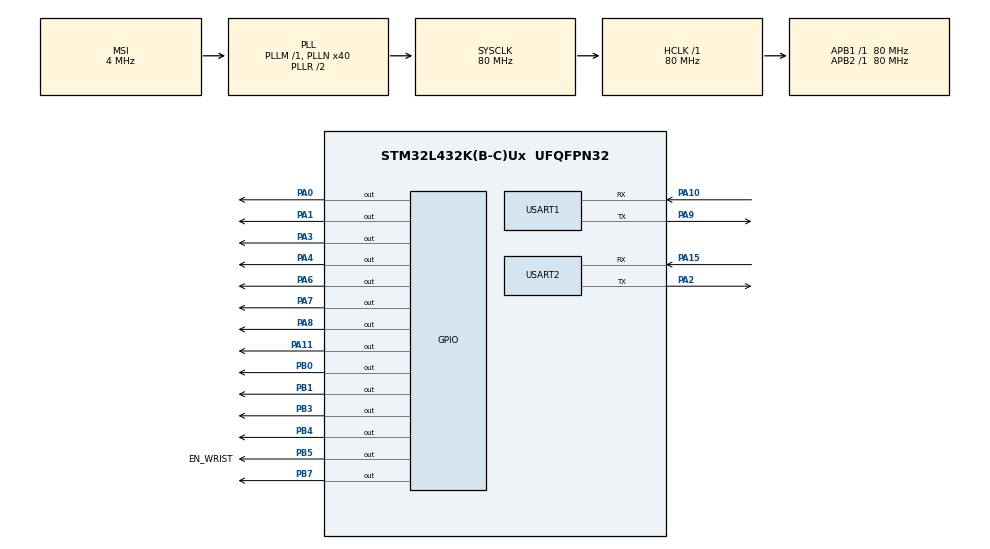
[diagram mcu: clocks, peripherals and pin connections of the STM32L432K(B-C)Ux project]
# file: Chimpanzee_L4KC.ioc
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CRC.CRCLength=CRC_POLYLENGTH_8B
CRC.DefaultInitValueUse=DEFAULT_INIT_VALUE_DISABLE
CRC.DefaultPolynomialUse=DEFAULT_POLYNOMIAL_DISABLE
Dma.Request0=USART1_RX
Dma.Request1=USART1_TX
Dma.Request2=USART2_RX
Dma.Request3=USART2_TX
Dma.USART1_RX.0.Direction=DMA_PERIPH_TO_MEMORY
Dma.USART1_RX.0.Instance=DMA1_Channel5
Dma.USART1_RX.0.MemDataAlignment=DMA_MDATAALIGN_BYTE
Dma.USART1_RX.0.MemInc=DMA_MINC_ENABLE
Dma.USART1_RX.0.Mode=DMA_CIRCULAR
Dma.USART1_RX.0.PeriphDataAlignment=DMA_PDATAALIGN_BYTE
Dma.USART1_RX.0.PeriphInc=DMA_PINC_DISABLE
Dma.USART1_RX.0.Priority=DMA_PRIORITY_LOW
Dma.USART1_TX.1.Direction=DMA_MEMORY_TO_PERIPH
Dma.USART1_TX.1.Instance=DMA1_Channel4
Dma.USART1_TX.1.MemDataAlignment=DMA_MDATAALIGN_BYTE
Dma.USART1_TX.1.MemInc=DMA_MINC_ENABLE
Dma.USART1_TX.1.Mode=DMA_NORMAL
Dma.USART1_TX.1.PeriphDataAlignment=DMA_PDATAALIGN_BYTE
Dma.USART1_TX.1.PeriphInc=DMA_PINC_DISABLE
Dma.USART1_TX.1.Priority=DMA_PRIORITY_LOW
Dma.USART2_RX.2.Direction=DMA_PERIPH_TO_MEMORY
Dma.USART2_RX.2.Instance=DMA1_Channel6
Dma.USART2_RX.2.MemDataAlignment=DMA_MDATAALIGN_BYTE
Dma.USART2_RX.2.MemInc=DMA_MINC_ENABLE
Dma.USART2_RX.2.Mode=DMA_CIRCULAR
Dma.USART2_RX.2.PeriphDataAlignment=DMA_PDATAALIGN_BYTE
Dma.USART2_RX.2.PeriphInc=DMA_PINC_DISABLE
Dma.USART2_RX.2.Priority=DMA_PRIORITY_LOW
Dma.USART2_TX.3.Direction=DMA_MEMORY_TO_PERIPH
Dma.USART2_TX.3.Instance=DMA1_Channel7
Dma.USART2_TX.3.MemDataAlignment=DMA_MDATAALIGN_BYTE
Dma.USART2_TX.3.MemInc=DMA_MINC_ENABLE
Dma.USART2_TX.3.Mode=DMA_NORMAL
Dma.USART2_TX.3.PeriphDataAlignment=DMA_PDATAALIGN_BYTE
Dma.USART2_TX.3.PeriphInc=DMA_PINC_DISABLE
Dma.USART2_TX.3.Priority=DMA_PRIORITY_LOW
Mcu.Family=STM32L4
Mcu.Name=STM32L432K(B-C)Ux
Mcu.Package=UFQFPN32
NVIC.DMA1_Channel4_IRQn=true\:1\:0\:true\:true\:true\:3\:false\:true\:true
NVIC.DMA1_Channel5_IRQn=true\:3\:0\:true\:true\:true\:9\:false\:true\:true
NVIC.DMA1_Channel6_IRQn=true\:3\:0\:true\:true\:true\:10\:false\:true\:true
NVIC.DMA1_Channel7_IRQn=true\:1\:0\:true\:true\:true\:4\:false\:true\:true
NVIC.PriorityGroup=NVIC_PRIORITYGROUP_4
NVIC.TIM1_BRK_TIM15_IRQn=true\:2\:0\:true\:true\:true\:5\:true\:true\:true
NVIC.TIM1_CC_IRQn=true\:2\:0\:true\:true\:true\:8\:true\:true\:true
NVIC.TIM1_UP_TIM16_IRQn=true\:2\:0\:true\:true\:true\:6\:true\:true\:true
NVIC.TIM2_IRQn=true\:2\:0\:true\:true\:true\:7\:true\:true\:true
NVIC.TIM6_DAC_IRQn=true\:3\:0\:true\:true\:true\:11\:true\:true\:true
NVIC.USART1_IRQn=true\:1\:0\:true\:true\:true\:1\:true\:true\:true
NVIC.USART2_IRQn=true\:1\:0\:true\:true\:true\:2\:true\:true\:true
PA0.Signal=GPIO_Output
PA1.Signal=GPIO_Output
PA10.Mode=Asynchronous
PA10.Signal=USART1_RX
PA11.Signal=GPIO_Output
PA15\ (JTDI).Mode=Asynchronous
PA15\ (JTDI).Signal=USART2_RX
PA2.Mode=Asynchronous
PA2.Signal=USART2_TX
PA3.Signal=GPIO_Output
PA4.Signal=GPIO_Output
PA6.Signal=GPIO_Output
PA7.Signal=GPIO_Output
PA8.Signal=GPIO_Output
PA9.Mode=Asynchronous
PA9.Signal=USART1_TX
PB0.Signal=GPIO_Output
PB1.Signal=GPIO_Output
PB3\ (JTDO-TRACESWO).Signal=GPIO_Output
PB4\ (NJTRST).Signal=GPIO_Output
PB5.GPIO_Label=EN_WRIST
PB5.PinState=GPIO_PIN_RESET
PB5.Signal=GPIO_Output
PB7.Signal=GPIO_Output
ProjectManager.HeapSize=0x200
ProjectManager.StackSize=0x400
ProjectManager.TargetToolchain=STM32CubeIDE
RCC.AHBFreq_Value=80000000
RCC.APB1Freq_Value=80000000
RCC.APB1TimFreq_Value=80000000
RCC.APB2Freq_Value=80000000
RCC.APB2TimFreq_Value=80000000
RCC.CortexFreq_Value=80000000
RCC.HCLKFreq_Value=80000000
RCC.HSE_VALUE=8000000
RCC.HSI16_VALUE=16000000
RCC.HSI48_VALUE=48000000
RCC.HSI_VALUE=16000000
RCC.LSE_VALUE=32768
RCC.MSI_VALUE=4000000
RCC.PLLMUL=RCC_PLLMUL_4
RCC.PLLN=40
RCC.SYSCLKFreq_VALUE=80000000
RCC.SYSCLKSource=RCC_SYSCLKSOURCE_PLLCLK
RCC.VCOOutputFreq_Value=160000000
TIM1.Channel-PWM\ Generation1\ No\ Output=TIM_CHANNEL_1
TIM1.Channel-PWM\ Generation2\ No\ Output=TIM_CHANNEL_2
TIM1.Channel-PWM\ Generation3\ No\ Output=TIM_CHANNEL_3
TIM1.Channel-PWM\ Generation4\ No\ Output=TIM_CHANNEL_4
TIM1.OC1Preload_PWM=DISABLE
TIM1.OC2Preload_PWM=DISABLE
TIM1.OC3Preload_PWM=DISABLE
TIM1.OC4Preload_PWM=DISABLE
TIM1.Period=19999
TIM1.Prescaler=79
TIM1.Pulse-PWM\ Generation1\ No\ Output=1540
TIM1.Pulse-PWM\ Generation2\ No\ Output=1540
TIM1.Pulse-PWM\ Generation3\ No\ Output=1540
TIM1.Pulse-PWM\ Generation4\ No\ Output=1540
TIM15.Channel-PWM\ Generation1\ No\ Output=TIM_CHANNEL_1
TIM15.OC1Preload_PWM=DISABLE
TIM15.Period=255
TIM15.Prescaler=150
TIM15.Pulse-PWM\ Generation1\ No\ Output=127
TIM16.Channel=TIM_CHANNEL_1
TIM16.OC1Preload_PWM=DISABLE
TIM16.Period=255
TIM16.Prescaler=1040
TIM16.Pulse=127
TIM2.Channel-PWM\ Generation1\ No\ Output=TIM_CHANNEL_1
TIM2.Channel-PWM\ Generation2\ No\ Output=TIM_CHANNEL_2
TIM2.Channel-PWM\ Generation3\ No\ Output=TIM_CHANNEL_3
TIM2.Channel-PWM\ Generation4\ No\ Output=TIM_CHANNEL_4
TIM2.OC1Preload_PWM=DISABLE
TIM2.OC2Preload_PWM=DISABLE
TIM2.OC3Preload_PWM=DISABLE
TIM2.OC4Preload_PWM=DISABLE
TIM2.Period=19999
TIM2.Prescaler=79
TIM2.Pulse-PWM\ Generation1\ No\ Output=1540
TIM2.Pulse-PWM\ Generation2\ No\ Output=1540
TIM2.Pulse-PWM\ Generation3\ No\ Output=1540
TIM2.Pulse-PWM\ Generation4\ No\ Output=1540
TIM6.Period=99
TIM6.Prescaler=7999
USART1.VirtualMode-Asynchronous=VM_ASYNC
USART2.VirtualMode-Asynchronous=VM_ASYNC
VP_CRC_VS_CRC.Mode=CRC_Activate
VP_TIM15_VS_no_output1.Mode=PWM Generation1 No Output
VP_TIM16_VS_ClockSourceINT.Mode=Enable_Timer
VP_TIM16_VS_no_output1.Mode=PWM Generation1 No Output
VP_TIM1_VS_no_output1.Mode=PWM Generation1 No Output
VP_TIM1_VS_no_output2.Mode=PWM Generation2 No Output
VP_TIM1_VS_no_output3.Mode=PWM Generation3 No Output
VP_TIM1_VS_no_output4.Mode=PWM Generation4 No Output
VP_TIM2_VS_no_output1.Mode=PWM Generation1 No Output
VP_TIM2_VS_no_output2.Mode=PWM Generation2 No Output
VP_TIM2_VS_no_output3.Mode=PWM Generation3 No Output
VP_TIM2_VS_no_output4.Mode=PWM Generation4 No Output
VP_TIM6_VS_ClockSourceINT.Mode=Enable_Timer
board=NUCLEO-L432KC

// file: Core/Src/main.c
/* USER CODE BEGIN Header */
/**
  ******************************************************************************
  * @file           : main.c
  * @brief          : Main program body
  ******************************************************************************
  * @attention
  *
  * Copyright (c) 2024 STMicroelectronics.
  * All rights reserved.
  *
  * This software is licensed under terms that can be found in the LICENSE file
  * in the root directory of this software component.
  * If no LICENSE file comes with this software, it is provided AS-IS.
  *
  ******************************************************************************
  */
/* USER CODE END Header */
#include "main.h"
#include "crc.h"
#include "dma.h"
#include "tim.h"
#include "usart.h"
#include "gpio.h"

/* USER CODE BEGIN Includes */
#include <string.h>
/* USER CODE END Includes */

/* USER CODE BEGIN PD */
// Arm and Wrist Pin Definitions
#define DEBUG_EN 1

#define PIN_DIR_WRIST GPIO_PIN_4 // GPIOB | D12
#define    PIN_EN_ARM GPIO_PIN_5 // GPIOB | D11
#define  PIN_DIR_HAND GPIO_PIN_7 // GPIOB | D4

// Packets' Codes
#define CHIMP_INIT_SOP 0xFF
#define CHIMP_COMM_SOP 0xAA
#define CHIMP_HB_SOP   0xBB
#define CHIMP_EOP 	   0xEE
#define CHIMP_ESCAPE   0x7E

// Packet sizes, to be kept updated
#define   CHIMP_RX_PCKT_SIZE 27
#define   CHIMP_TX_PCKT_SIZE 50
#define CHIMP_RESP_PCKT_SIZE 8
#define   CHIMP_HB_PCKT_SIZE 7
// Init Packet Indexes
#define        CHIMP_INIT_SOP_IDX 0
#define    CHIMP_INIT_ADDRESS_IDX 1
#define    CHIMP_INIT_VERSION_IDX 2
#define CHIMP_INIT_SUBVERSION_IDX 3
#define  CHIMP_INIT_HB_PERIOD_IDX 4
#define       CHIMP_INIT_CRC8_IDX 5
#define        CHIMP_INIT_EOP_IDX 6

// Response Packet Indexes
#define        CHIMP_RESP_SOP_IDX 0
#define    CHIMP_RESP_ADDRESS_IDX 1
#define    CHIMP_RESP_VERSION_IDX 2
#define CHIMP_RESP_SUBVERSION_IDX 3
#define   CHIMP_RESP_RESPONSE_IDX 4
#define       CHIMP_RESP_CRC8_IDX 5
#define        CHIMP_RESP_EOP_IDX 6

// Heart Beat Packet Indexes
#define     CHIMP_HB_SOP_IDX 0
#define CHIMP_HB_ADDRESS_IDX 1
#define  CHIMP_HB_STATUS_IDX 2
#define CHIMP_HB_PAYLOAD_IDX 3
#define    CHIMP_HB_CRC8_IDX 4
#define     CHIMP_HB_EOP_IDX 5

// Response Packet - Response field codes
#define                 CHIMP_RESP_OK 0x00
#define CHIMP_RESP_OLD_VERSION_MASTER 0x01
#define  CHIMP_RESP_OLD_VERSION_SLAVE 0x02
#define        CHIMP_RESP_CRC_FAILURE 0x03

// HB Packet - Status field codes
#define CHIMP_HB_READY  0b00000000
#define CHIMP_HB_NREADY 0b00000001

// Slope of the hand PWM, expressed in ms between each halving of the TIM15 prescaler
#define HAND_PWM_SLOPE 300
/* USER CODE END PD */

/* USER CODE BEGIN PV */
typedef enum {
	CHIMP_OK,
	CHIMP_BUSY
} CHIMP_StatusTypeDef;

typedef struct {
	CHIMP_StatusTypeDef  				         Status;
	uint16_t                              Motor_Arg[11];
	uint8_t									       Tick;
	uint8_t                                    HandTick;
	uint8_t         		   				  HB_Period;
	uint8_t           		   			   	    Version;
	uint8_t         						 SubVersion;
	uint8_t             				      FillIndex;
	uint8_t                                       Esc_f;
	uint8_t 			                    UART_Buffer;
	uint8_t                                CHIMP_Init_f;
	uint8_t                               PWM_divisions;
	uint8_t                TxPacket[CHIMP_TX_PCKT_SIZE];
	uint8_t                RxPacket[CHIMP_RX_PCKT_SIZE];
	uint8_t             Resp_Pckt[CHIMP_RESP_PCKT_SIZE];
	uint8_t                 HB_Pckt[CHIMP_HB_PCKT_SIZE];
} CHIMP_TypeDef;

static CHIMP_TypeDef chimp;

uint8_t wrist_en_f, claw_en_f;
/* USER CODE END PV */

void SystemClock_Config(void);
static void MX_NVIC_Init(void);
/* USER CODE BEGIN PFP */
void CHIMP_UART_RXHandler() {
	// LED On
	HAL_GPIO_WritePin(GPIOB, GPIO_PIN_3, 1);

	uint8_t pcktFilled_f = 0;

	if ((chimp.UART_Buffer == CHIMP_EOP && !chimp.Esc_f) || chimp.FillIndex == (CHIMP_RX_PCKT_SIZE - 1)) {
		chimp.RxPacket[chimp.FillIndex] = chimp.UART_Buffer;
		pcktFilled_f = 1;
	}
	else if (chimp.UART_Buffer == CHIMP_ESCAPE && !chimp.Esc_f) {
		chimp.Esc_f = 1;
	}
	else {
		chimp.RxPacket[chimp.FillIndex] = chimp.UART_Buffer;
		chimp.FillIndex++;
		chimp.Esc_f = 0;
	}

	if (pcktFilled_f) {
		// LED Off
		HAL_GPIO_WritePin(GPIOB, GPIO_PIN_3, 0);

		// Check if Address field contains current board address
		if (chimp.RxPacket[1] == 0x00 && chimp.FillIndex >= 6) {

			if (chimp.RxPacket[0] == CHIMP_INIT_SOP) {
				// Response field evaluation //

				// Perform CRC-8 check
				if (HAL_CRC_Calculate(&hcrc, (uint32_t *)chimp.RxPacket, CHIMP_INIT_CRC8_IDX) != chimp.RxPacket[CHIMP_INIT_CRC8_IDX])
					chimp.Resp_Pckt[CHIMP_RESP_RESPONSE_IDX] = CHIMP_RESP_CRC_FAILURE;
				// If there is no other failure, perform version check
				else {
					if (chimp.Version == chimp.RxPacket[CHIMP_INIT_VERSION_IDX]) {
						if (chimp.SubVersion == chimp.RxPacket[CHIMP_INIT_SUBVERSION_IDX]) {
							chimp.Resp_Pckt[CHIMP_RESP_RESPONSE_IDX] = CHIMP_RESP_OK;
						}
						else if (chimp.SubVersion < chimp.RxPacket[CHIMP_INIT_SUBVERSION_IDX]) {
							chimp.Resp_Pckt[CHIMP_RESP_RESPONSE_IDX] = CHIMP_RESP_OLD_VERSION_SLAVE;
						}
						else chimp.Resp_Pckt[CHIMP_RESP_RESPONSE_IDX] = CHIMP_RESP_OLD_VERSION_MASTER;
					}
					else if (chimp.Version < chimp.RxPacket[CHIMP_INIT_VERSION_IDX]) {
						chimp.Resp_Pckt[CHIMP_RESP_RESPONSE_IDX] = CHIMP_RESP_OLD_VERSION_SLAVE;
					}
					else chimp.Resp_Pckt[CHIMP_RESP_RESPONSE_IDX] = CHIMP_RESP_OLD_VERSION_MASTER;
				}

				// ------------------------- //

				// Response Packet CRC8 calculation
				uint8_t tmp = HAL_CRC_Calculate(&hcrc, (uint32_t *)chimp.Resp_Pckt, CHIMP_RESP_CRC8_IDX);
				uint8_t offset = 0;
				if (tmp == CHIMP_ESCAPE || tmp == CHIMP_INIT_SOP || tmp == CHIMP_COMM_SOP || tmp == CHIMP_HB_SOP || tmp == CHIMP_EOP) {
					chimp.Resp_Pckt[CHIMP_RESP_CRC8_IDX] = CHIMP_ESCAPE;
					offset = 1;
				}
				chimp.Resp_Pckt[CHIMP_RESP_CRC8_IDX + offset] = tmp;
				chimp.Resp_Pckt[CHIMP_RESP_EOP_IDX  + offset] = CHIMP_EOP;

				// No Errors, update HB period
				if (chimp.Resp_Pckt[CHIMP_RESP_RESPONSE_IDX] == CHIMP_RESP_OK) {
					// Setting HB period and starting generation of HB packets
					chimp.HB_Period = chimp.RxPacket[CHIMP_INIT_HB_PERIOD_IDX] + 1;
				}

				// Send Response Packet
				#if (DEBUG_EN == 1)
					HAL_TIM_Base_Stop(&htim6);
					HAL_UART_Transmit(&huart2, chimp.Resp_Pckt, (CHIMP_RESP_PCKT_SIZE - 1 + offset), 10);
					HAL_TIM_Base_Start_IT(&htim6);
				#else
					while (huart1.gState != HAL_UART_STATE_READY);
					HAL_UART_Transmit_DMA(&huart1, chimp.Resp_Pckt, (CHIMP_RESP_PCKT_SIZE - 1 + offset));
				#endif

				if (!chimp.CHIMP_Init_f) {
					chimp.CHIMP_Init_f = 1;
					// If first Init, start Motors PWM and HB Timers
					HAL_TIM_Base_Start_IT(&htim1);
					HAL_TIM_Base_Start_IT(&htim2);
					HAL_TIM_Base_Start_IT(&htim6);

					// Set Output Compare IT for Motors and Arm PWMs
					HAL_TIM_OC_Start_IT(&htim1,TIM_CHANNEL_1);
					HAL_TIM_OC_Start_IT(&htim1,TIM_CHANNEL_2);
					HAL_TIM_OC_Start_IT(&htim1,TIM_CHANNEL_3);
					HAL_TIM_OC_Start_IT(&htim1,TIM_CHANNEL_4);

					HAL_TIM_OC_Start_IT(&htim2,TIM_CHANNEL_1);
					HAL_TIM_OC_Start_IT(&htim2,TIM_CHANNEL_2);
					HAL_TIM_OC_Start_IT(&htim2,TIM_CHANNEL_3);
					HAL_TIM_OC_Start_IT(&htim2,TIM_CHANNEL_4);

					HAL_TIM_OC_Start_IT(&htim15,TIM_CHANNEL_1);

					//HAL_TIM_OC_Start_IT(&htim16,TIM_CHANNEL_1);
				}
			}
			else {
				// Perform CRC-8 check
				chimp.RxPacket[0] = CHIMP_COMM_SOP;
				if (chimp.CHIMP_Init_f && HAL_CRC_Calculate(&hcrc, (uint32_t *)chimp.RxPacket, (chimp.FillIndex - 1)) == chimp.RxPacket[chimp.FillIndex - 1]) {
					memcpy(chimp.Motor_Arg, (chimp.RxPacket + 3), (chimp.FillIndex - 4));

					if (!chimp.RxPacket[2]) {
						htim1.Instance->CCR1 = chimp.Motor_Arg[0] + 40;
						htim1.Instance->CCR2 = chimp.Motor_Arg[1] + 40;
						htim1.Instance->CCR3 = chimp.Motor_Arg[2] + 40;
						htim1.Instance->CCR4 = chimp.Motor_Arg[3] + 40;

						htim2.Instance->CCR1 = chimp.Motor_Arg[4] + 40;
						htim2.Instance->CCR2 = chimp.Motor_Arg[5] + 40;
						htim2.Instance->CCR3 = chimp.Motor_Arg[6] + 40;
						htim2.Instance->CCR4 = chimp.Motor_Arg[7] + 40;
					} else {
						switch((uint16_t) chimp.RxPacket[3]) {
							case 0:
								chimp.HandTick = 0;
								chimp.PWM_divisions = 2;
								htim15.Instance->PSC = 500;
								HAL_GPIO_WritePin(GPIOB, PIN_DIR_WRIST, 1);
								wrist_en_f = 1;
								HAL_TIM_Base_Start_IT(&htim15);
								break;
							case 1:
								chimp.HandTick = 0;
								chimp.PWM_divisions = 2;
								htim15.Instance->PSC = 500;
								HAL_GPIO_WritePin(GPIOB, PIN_DIR_WRIST, 0);
								wrist_en_f = 1;
								HAL_TIM_Base_Start_IT(&htim15);
								break;
							case 2:
								HAL_TIM_Base_Stop_IT(&htim15);
								wrist_en_f = 0;
								break;
							case 3: //open claw
								HAL_GPIO_WritePin(GPIOB, PIN_DIR_HAND, 1);
								//HAL_TIM_Base_Start_IT(&htim16);
								HAL_GPIO_WritePin(GPIOA, GPIO_PIN_7, 1);
								claw_en_f = 1;
								break;
							case 4: //close claw
								HAL_GPIO_WritePin(GPIOB, PIN_DIR_HAND, 0);
								//HAL_TIM_Base_Start_IT(&htim16);
								HAL_GPIO_WritePin(GPIOA, GPIO_PIN_7, 1);
								claw_en_f = 1;
								break;
							case 5: //stop claw
								//HAL_TIM_Base_Stop_IT(&htim16);
								claw_en_f = 0;
								HAL_GPIO_WritePin(GPIOA, GPIO_PIN_7, 0);
								break;
							case 6:
								wrist_en_f = 1;
								HAL_TIM_Base_Stop_IT(&htim15);
								//HAL_TIM_Base_Stop_IT(&htim16);
								HAL_GPIO_WritePin(GPIOA, GPIO_PIN_7, 0);
								break;
							case 7:
								claw_en_f = 0; wrist_en_f = 0;
								HAL_TIM_Base_Stop_IT(&htim15);
								//HAL_TIM_Base_Stop_IT(&htim16);
								HAL_GPIO_WritePin(GPIOA, GPIO_PIN_7, 0);
								break;
							default:
								break;
						}
						if (claw_en_f || wrist_en_f) HAL_GPIO_WritePin(GPIOB, PIN_EN_ARM, 0);
						else HAL_GPIO_WritePin(GPIOB, PIN_EN_ARM, 1);
					}
				}
			}
		}

		// Resetting Communication Packet
		memset(chimp.RxPacket, 0, chimp.FillIndex + 1);

		chimp.Esc_f = 0;
		chimp.FillIndex = 0;
	}
}
/* USER CODE END PFP */

int main(void)
{

  /* MCU Configuration--------------------------------------------------------*/

  /* Reset of all peripherals, Initializes the Flash interface and the Systick. */
  HAL_Init();

  /* Configure the system clock */
  SystemClock_Config();

  /* Initialize all configured peripherals */
  MX_GPIO_Init();
  MX_DMA_Init();
  MX_USART2_UART_Init();
  MX_CRC_Init();
  MX_TIM1_Init();
  MX_TIM2_Init();
  MX_TIM6_Init();
  MX_TIM15_Init();
  MX_TIM16_Init();
  MX_USART1_UART_Init();

  /* Initialize interrupts */
  MX_NVIC_Init();
  /* USER CODE BEGIN 2 */
  // CHIMP initialization
  chimp. HB_Period = 1;
  chimp.   Version = 1;
  chimp.SubVersion = 0;

  // Fill Response Packet
  chimp.Resp_Pckt       [CHIMP_RESP_SOP_IDX] =   CHIMP_INIT_SOP;
  chimp.Resp_Pckt   [CHIMP_RESP_ADDRESS_IDX] =             0x00;
  chimp.Resp_Pckt   [CHIMP_RESP_VERSION_IDX] =    chimp.Version;
  chimp.Resp_Pckt[CHIMP_RESP_SUBVERSION_IDX] = chimp.SubVersion;

  // Fill HB Packet
  chimp.HB_Pckt    [CHIMP_HB_SOP_IDX] =   CHIMP_HB_SOP;
  chimp.HB_Pckt[CHIMP_HB_ADDRESS_IDX] =           0x00;
  chimp.HB_Pckt [CHIMP_HB_STATUS_IDX] = CHIMP_HB_READY;

  #if (DEBUG_EN == 0)
  	  HAL_UART_Receive_DMA(&huart1, &chimp.UART_Buffer, 1);
  #endif

  // Wrist disable for safe initial state
  HAL_GPIO_WritePin(GPIOB, PIN_EN_ARM, 1);

  // Low Power Mode, not possible with BUSY WAIT
  //HAL_SuspendTick();
  //HAL_PWR_EnableSleepOnExit();
  //HAL_PWR_EnterSLEEPMode(PWR_MAINREGULATOR_ON, PWR_SLEEPENTRY_WFI);
  /* USER CODE END 2 */

  /* Infinite loop */
  while (1)
  {

    /* USER CODE BEGIN 3 */
	// Low Power Mode suitable for SysTick-based implementations, not possible with BUSY WAIT
  	//HAL_SuspendTick();
	//HAL_PWR_EnterSLEEPMode(PWR_MAINREGULATOR_ON, PWR_SLEEPENTRY_WFI);
	//HAL_ResumeTick();

	#if (DEBUG_EN == 1)
		if (HAL_UART_Receive(&huart2, &chimp.UART_Buffer, 1, 10) == HAL_OK) {
			CHIMP_UART_RXHandler();
		}
	#endif
  }
  /* USER CODE END 3 */
}

void SystemClock_Config(void)
{
  RCC_OscInitTypeDef RCC_OscInitStruct = {0};
  RCC_ClkInitTypeDef RCC_ClkInitStruct = {0};

  /** Configure the main internal regulator output voltage
  */
  if (HAL_PWREx_ControlVoltageScaling(PWR_REGULATOR_VOLTAGE_SCALE1) != HAL_OK)
  {
    Error_Handler();
  }

  /** Initializes the RCC Oscillators according to the specified parameters
  * in the RCC_OscInitTypeDef structure.
  */
  RCC_OscInitStruct.OscillatorType = RCC_OSCILLATORTYPE_MSI;
  RCC_OscInitStruct.MSIState = RCC_MSI_ON;
  RCC_OscInitStruct.MSICalibrationValue = 0;
  RCC_OscInitStruct.MSIClockRange = RCC_MSIRANGE_6;
  RCC_OscInitStruct.PLL.PLLState = RCC_PLL_ON;
  RCC_OscInitStruct.PLL.PLLSource = RCC_PLLSOURCE_MSI;
  RCC_OscInitStruct.PLL.PLLM = 1;
  RCC_OscInitStruct.PLL.PLLN = 40;
  RCC_OscInitStruct.PLL.PLLP = RCC_PLLP_DIV7;
  RCC_OscInitStruct.PLL.PLLQ = RCC_PLLQ_DIV2;
  RCC_OscInitStruct.PLL.PLLR = RCC_PLLR_DIV2;
  if (HAL_RCC_OscConfig(&RCC_OscInitStruct) != HAL_OK)
  {
    Error_Handler();
  }

  /** Initializes the CPU, AHB and APB buses clocks
  */
  RCC_ClkInitStruct.ClockType = RCC_CLOCKTYPE_HCLK|RCC_CLOCKTYPE_SYSCLK
                              |RCC_CLOCKTYPE_PCLK1|RCC_CLOCKTYPE_PCLK2;
  RCC_ClkInitStruct.SYSCLKSource = RCC_SYSCLKSOURCE_PLLCLK;
  RCC_ClkInitStruct.AHBCLKDivider = RCC_SYSCLK_DIV1;
  RCC_ClkInitStruct.APB1CLKDivider = RCC_HCLK_DIV1;
  RCC_ClkInitStruct.APB2CLKDivider = RCC_HCLK_DIV1;

  if (HAL_RCC_ClockConfig(&RCC_ClkInitStruct, FLASH_LATENCY_4) != HAL_OK)
  {
    Error_Handler();
  }
}

/**
  * @brief NVIC Configuration.
  * @retval None
  */
static void MX_NVIC_Init(void)
{
  /* USART1_IRQn interrupt configuration */
  HAL_NVIC_SetPriority(USART1_IRQn, 1, 0);
  HAL_NVIC_EnableIRQ(USART1_IRQn);
  /* USART2_IRQn interrupt configuration */
  HAL_NVIC_SetPriority(USART2_IRQn, 1, 0);
  HAL_NVIC_EnableIRQ(USART2_IRQn);
  /* DMA1_Channel4_IRQn interrupt configuration */
  HAL_NVIC_SetPriority(DMA1_Channel4_IRQn, 1, 0);
  HAL_NVIC_EnableIRQ(DMA1_Channel4_IRQn);
  /* DMA1_Channel7_IRQn interrupt configuration */
  HAL_NVIC_SetPriority(DMA1_Channel7_IRQn, 1, 0);
  HAL_NVIC_EnableIRQ(DMA1_Channel7_IRQn);
  /* TIM1_BRK_TIM15_IRQn interrupt configuration */
  HAL_NVIC_SetPriority(TIM1_BRK_TIM15_IRQn, 2, 0);
  HAL_NVIC_EnableIRQ(TIM1_BRK_TIM15_IRQn);
  /* TIM1_UP_TIM16_IRQn interrupt configuration */
  HAL_NVIC_SetPriority(TIM1_UP_TIM16_IRQn, 2, 0);
  HAL_NVIC_EnableIRQ(TIM1_UP_TIM16_IRQn);
  /* TIM2_IRQn interrupt configuration */
  HAL_NVIC_SetPriority(TIM2_IRQn, 2, 0);
  HAL_NVIC_EnableIRQ(TIM2_IRQn);
  /* TIM1_CC_IRQn interrupt configuration */
  HAL_NVIC_SetPriority(TIM1_CC_IRQn, 2, 0);
  HAL_NVIC_EnableIRQ(TIM1_CC_IRQn);
  /* DMA1_Channel5_IRQn interrupt configuration */
  HAL_NVIC_SetPriority(DMA1_Channel5_IRQn, 3, 0);
  HAL_NVIC_EnableIRQ(DMA1_Channel5_IRQn);
  /* DMA1_Channel6_IRQn interrupt configuration */
  HAL_NVIC_SetPriority(DMA1_Channel6_IRQn, 3, 0);
  HAL_NVIC_EnableIRQ(DMA1_Channel6_IRQn);
  /* TIM6_DAC_IRQn interrupt configuration */
  HAL_NVIC_SetPriority(TIM6_DAC_IRQn, 3, 0);
  HAL_NVIC_EnableIRQ(TIM6_DAC_IRQn);
}

/* USER CODE BEGIN 4 */
void HAL_UART_RxCpltCallback(UART_HandleTypeDef *huart) {
	CHIMP_UART_RXHandler();
}

void HAL_TIM_PWM_PulseFinishedCallback(TIM_HandleTypeDef* htim){
	if(htim->Instance == TIM1 ) {
		if(htim->Channel == HAL_TIM_ACTIVE_CHANNEL_1) {
			HAL_GPIO_WritePin(GPIOB,  GPIO_PIN_1, 0); // FDX: PB1  | D6
		}
		if(htim->Channel == HAL_TIM_ACTIVE_CHANNEL_2) {
			HAL_GPIO_WritePin(GPIOA,  GPIO_PIN_8, 0); // FSX: PA8  | D9
		}
		if(htim->Channel == HAL_TIM_ACTIVE_CHANNEL_3) {
			HAL_GPIO_WritePin(GPIOA,  GPIO_PIN_3, 0); // RDX: PA3  | A2
		}
		if(htim->Channel == HAL_TIM_ACTIVE_CHANNEL_4) {
			HAL_GPIO_WritePin(GPIOA, GPIO_PIN_11, 0); // RSX: PA11 | D10
		}
	}
	else if(htim->Instance == TIM2) {
		if(htim->Channel == HAL_TIM_ACTIVE_CHANNEL_1) {
			HAL_GPIO_WritePin(GPIOA, GPIO_PIN_4, 0); // UPFDX: PA4 | A3
		}
		if(htim->Channel == HAL_TIM_ACTIVE_CHANNEL_2) {
			HAL_GPIO_WritePin(GPIOA, GPIO_PIN_6, 0); // UPFSX: PA6 | A5
		}
		if(htim->Channel == HAL_TIM_ACTIVE_CHANNEL_3) {
			HAL_GPIO_WritePin(GPIOA, GPIO_PIN_0, 0); // UPRDX: PA0 | A0
		}
		if(htim->Channel == HAL_TIM_ACTIVE_CHANNEL_4) {
			HAL_GPIO_WritePin(GPIOB, GPIO_PIN_0, 0); // UPRSX: PB0 | D3
		}
	}
	else if(htim->Instance == TIM15) {
		if(htim->Channel == HAL_TIM_ACTIVE_CHANNEL_1) {
			HAL_GPIO_WritePin(GPIOA, GPIO_PIN_1, 0); // PWM Wrist: PA1 | A1
		}
	}
	else if(htim->Instance == TIM16) {
		if(htim->Channel == HAL_TIM_ACTIVE_CHANNEL_1) {
			HAL_GPIO_WritePin(GPIOA, GPIO_PIN_7, 0); // PWM Claw: PA7 | A6
		}
	}
}

void HAL_TIM_PeriodElapsedCallback(TIM_HandleTypeDef* htim){
	if (htim->Instance == TIM6) {
		chimp.Tick++;
		chimp.HandTick++;

		if (chimp.Tick == chimp.HB_Period) {
			chimp.HB_Pckt[CHIMP_HB_PAYLOAD_IDX] = 0x00;

			// HB Packet CRC8 calculation
			uint8_t tmp = HAL_CRC_Calculate(&hcrc, (uint32_t *)chimp.HB_Pckt, CHIMP_HB_CRC8_IDX);
			uint8_t offset = 0;
			if (tmp == CHIMP_ESCAPE || tmp == CHIMP_INIT_SOP || tmp == CHIMP_COMM_SOP || tmp == CHIMP_HB_SOP || tmp == CHIMP_EOP) {
				chimp.HB_Pckt[CHIMP_HB_CRC8_IDX] = CHIMP_ESCAPE;
				offset = 1;
			}
			chimp.HB_Pckt[CHIMP_HB_CRC8_IDX + offset] = tmp;
			chimp.HB_Pckt[CHIMP_HB_EOP_IDX  + offset] = CHIMP_EOP;

			// Send Init Response Packet
			#if (DEBUG_EN == 1)
				HAL_UART_Transmit(&huart2, chimp.HB_Pckt, (CHIMP_HB_PCKT_SIZE - 1 + offset), 10);
			#else
				while (huart1.gState != HAL_UART_STATE_READY);
				HAL_UART_Transmit_DMA(&huart1, chimp.HB_Pckt, (CHIMP_HB_PCKT_SIZE - 1 + offset));
			#endif

			chimp.Tick = 0;
		}

		if (chimp.HandTick == (HAND_PWM_SLOPE/10)) {  // Check if the tick is equal to the desired slope divided for the TIM6 period in ms
			if (chimp.PWM_divisions != 0) {
				chimp.PWM_divisions--;
				htim15.Instance->PSC /= 2;
			}
			chimp.HandTick = 0;
		}
	}
	else if (htim->Instance == TIM1) {            // Communication Packet Args order
		HAL_GPIO_WritePin(GPIOA,  GPIO_PIN_8, 1); // 1
		HAL_GPIO_WritePin(GPIOB,  GPIO_PIN_1, 1); // 2
		HAL_GPIO_WritePin(GPIOA, GPIO_PIN_11, 1); // 3
		HAL_GPIO_WritePin(GPIOA,  GPIO_PIN_3, 1); // 4
    }
	else if (htim->Instance == TIM2) {
		HAL_GPIO_WritePin(GPIOA, GPIO_PIN_6, 1); // 5
		HAL_GPIO_WritePin(GPIOA, GPIO_PIN_4, 1); // 6
		HAL_GPIO_WritePin(GPIOB, GPIO_PIN_0, 1); // 7
		HAL_GPIO_WritePin(GPIOA, GPIO_PIN_0, 1); // 8
	}
	else if (htim->Instance == TIM15) {
		HAL_GPIO_WritePin(GPIOA, GPIO_PIN_1, 1);
	}
	else if (htim->Instance == TIM16) {
		HAL_GPIO_WritePin(GPIOA, GPIO_PIN_7, 1);
	}
}
/* USER CODE END 4 */

void Error_Handler(void)
{
  __disable_irq();
  while (1)
  {
  }
}
